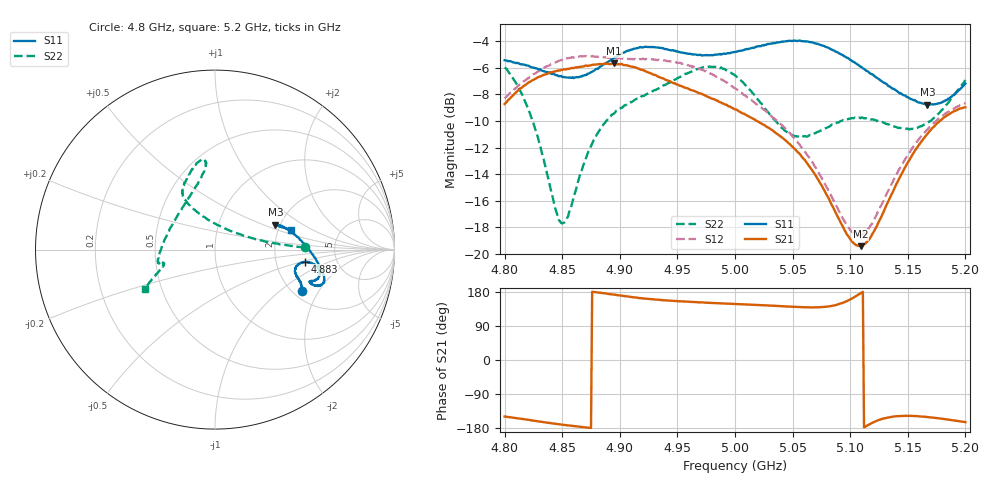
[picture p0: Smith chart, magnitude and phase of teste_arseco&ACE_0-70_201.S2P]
! Network Analyzer HP8722D
! Hewlett-Packard
! Data name: Linha & Wilkinson
! Saver's name: Rodrigo Anjos
! Comments: Teste da utilização de aquisição
! continua pelo VNA HP8722D
! Time and date: 8/5/2025 14:26
!  Frequency  S11  S21  S12  S22
# HZ  S  MA R 50
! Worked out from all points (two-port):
!   401 points, 4.8 GHz to 5.2 GHz, reference 50 ohm
!   highest |S21| = -5.67 dB at 4.895 GHz (marker M1); lowest = -19.4 dB at 5.109 GHz (marker M2)
!   |S21| within 3 dB of the highest: 4.801 GHz to 4.989 GHz (188.1 MHz wide, 3.84 % of centre)
!   lowest |S11| = -8.8 dB at 5.167 GHz (marker M3), VSWR 2.15, Z = 94.5 + j30.2 ohm
!   |S11| at or under -10 dB: nowhere
!   |S22| runs from -17.7 to -5.9 dB; largest |S21 - S12| = 1.1
!   S11 on the Smith chart (normalised r, x): 4.8 GHz: 2.24, -1.43; 4.883 GHz: 2.94, -0.55; 5.2 GHz: 2.34, +0.65
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4.8e9  0.5344 -25.3  0.366 -149.1  0.3837 10.3  0.5009 1.4
4.812e9  0.5212 -22.4  0.4126 -154.1  0.429 8.4  0.4228 2.7
4.823e9  0.5039 -20.4  0.4465 -159.1  0.4656 6.8  0.3275 6.3
4.848e9  0.4658 -16.1  0.4889 -169.9  0.5329 2.9  0.1327 55.0
4.855e9  0.4603 -14.3  0.4957 -172.6  0.5443 1.8  0.1381 85.0
4.867e9  0.4642 -11.0  0.5054 -176.7  0.5523 0.1  0.2065 111.5
4.883e9  0.5062 -7.8  0.5174 177.4  0.5496 -1.2  0.2947 120.5
4.895e9  0.545 -7.9  0.5204 172.3  0.5428 -1.1  0.3372 120.8
4.916e9  0.5945 -11.8  0.4974 163.7  0.538 -0.7  0.3843 118.0
4.934e9  0.5963 -15.7  0.4623 158.4  0.5376 -1.7  0.4203 112.4
4.973e9  0.5583 -18.4  0.3961 151.5  0.4892 -5.2  0.5031 99.4
5e9  0.575 -19.6  0.3493 147.6  0.42 -5.4  0.4686 96.4
5.018e9  0.6006 -19.6  0.3174 145.5  0.3667 -2.8  0.39 103.3
5.044e9  0.6299 -17.7  0.2671 141.4  0.2946 2.9  0.2894 131.3
5.067e9  0.6239 -13.5  0.2062 138.9  0.222 9.4  0.2805 164.5
5.098e9  0.545 -2.8  0.1172 156.7  0.1266 37.6  0.3211 -170.7
5.109e9  0.5052 2.4  0.107 176.3  0.1178 59.2  0.3237 -167.2
5.119e9  0.4732 7.5  0.1185 -165.9  0.1302 78.4  0.3207 -166.3
5.134e9  0.4263 14.6  0.161 -151.0  0.1762 94.6  0.3057 -165.7
5.167e9  0.3643 22.3  0.2823 -150.5  0.2941 102.1  0.3111 -161.5
5.183e9  0.3777 20.2  0.3286 -156.3  0.3382 102.2  0.3618 -156.5
5.2e9  0.4368 14.8  0.3556 -163.8  0.369 102.6  0.4503 -150.7
